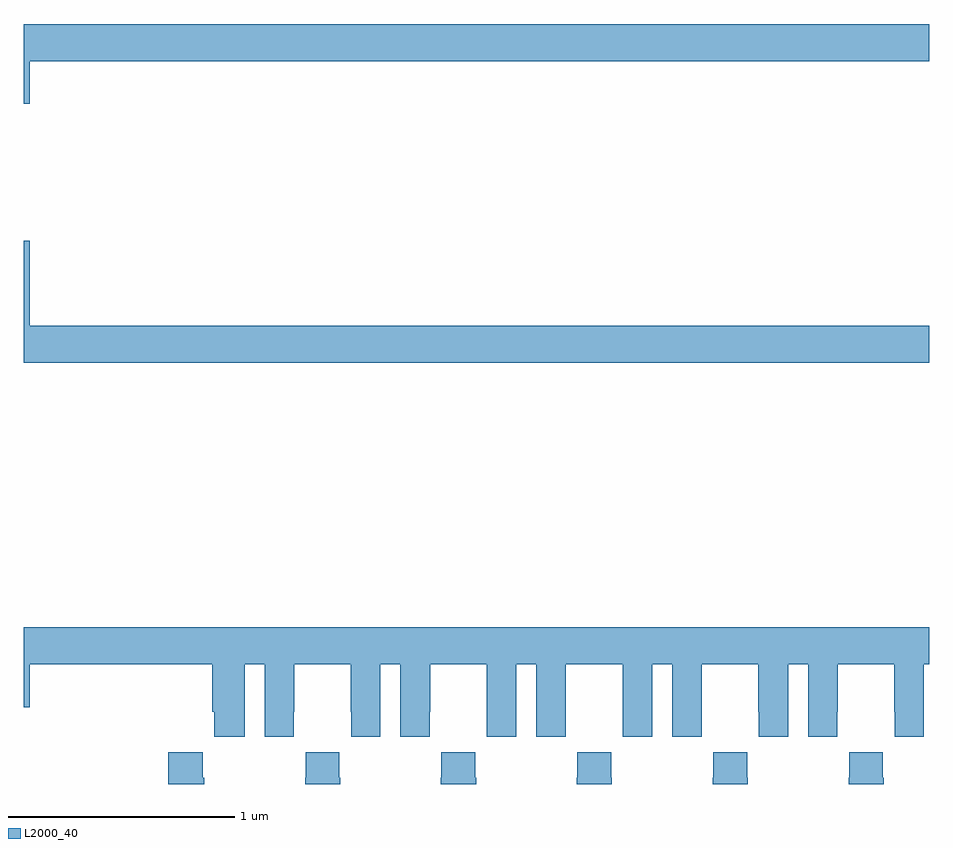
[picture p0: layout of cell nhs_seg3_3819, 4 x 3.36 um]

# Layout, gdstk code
import gdstk
lib = gdstk.Library(unit=1e-6, precision=1e-09)
def P(c, l, *ps):  # polygons
    for p in ps: c.add(gdstk.Polygon(p, *l))
L2000_40 = (2000, 40)

nhs_seg3_3819 = lib.new_cell('nhs_seg3_3819')
P(nhs_seg3_3819, L2000_40, [(309.028,691.592),(313,691.592),(313,691.756),(309,691.756),(309,691.404),(309.028,691.404)],
  [(313,690.424),(309.028,690.424),(309.028,690.799),(309,690.799),(309,690.26),(313,690.26)],
  [(309.976,688.928),(310.064,688.928),(310.064,688.608),(310.194,688.608),(310.194,688.72),(310.195,688.72),(310.195,688.928),(310.445,688.928),(310.445,688.72),(310.446,688.72),(310.446,688.608),(310.576,688.608),(310.576,688.928),(310.664,688.928),(310.664,688.608),(310.794,688.608),(310.794,688.72),(310.795,688.72),(310.795,688.928),(311.045,688.928),(311.045,688.72),(311.046,688.72),(311.046,688.608),(311.176,688.608),(311.176,688.928),(311.264,688.928),(311.264,688.608),(311.394,688.608),(311.394,688.72),(311.395,688.72),(311.395,688.928),(311.645,688.928),(311.645,688.72),(311.646,688.72),(311.646,688.608),(311.776,688.608),(311.776,688.928),(311.864,688.928),(311.864,688.608),(311.994,688.608),(311.994,688.72),(311.995,688.72),(311.995,688.928),(312.245,688.928),(312.245,688.72),(312.246,688.72),(312.246,688.608),(312.376,688.608),(312.376,688.928),(312.464,688.928),(312.464,688.608),(312.594,688.608),(312.594,688.72),(312.595,688.72),(312.595,688.928),(312.845,688.928),(312.845,688.72),(312.846,688.72),(312.846,688.608),(312.976,688.608),(312.976,688.928),(313,688.928),(313,689.092),(309,689.092),(309,688.74),(309.028,688.74),(309.028,688.928),(309.833,688.928),(309.833,688.72),(309.842,688.72),(309.842,688.608),(309.976,688.608)],
  [(310.398,688.427),(310.395,688.427),(310.395,688.54),(310.245,688.54),(310.245,688.427),(310.243,688.427),(310.243,688.4),(310.398,688.4)],
  [(309.798,688.427),(309.791,688.427),(309.791,688.54),(309.638,688.54),(309.638,688.4),(309.798,688.4)],
  [(310.998,688.427),(310.995,688.427),(310.995,688.54),(310.845,688.54),(310.845,688.427),(310.843,688.427),(310.843,688.4),(310.998,688.4)],
  [(311.598,688.427),(311.595,688.427),(311.595,688.54),(311.445,688.54),(311.445,688.427),(311.443,688.427),(311.443,688.4),(311.598,688.4)],
  [(312.198,688.427),(312.195,688.427),(312.195,688.54),(312.045,688.54),(312.045,688.427),(312.043,688.427),(312.043,688.4),(312.198,688.4)],
  [(312.798,688.427),(312.795,688.427),(312.795,688.54),(312.645,688.54),(312.645,688.427),(312.643,688.427),(312.643,688.4),(312.798,688.4)])

lib.write_gds('nhs_seg3_3819.gds')
